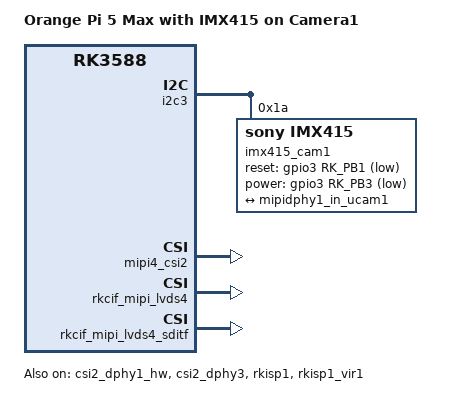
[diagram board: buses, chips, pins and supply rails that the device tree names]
// SPDX-License-Identifier: (GPL-2.0+ OR MIT)
/* Orange Pi 5 Max: one four-lane IMX415 on Camera1. */
#include "rk3588-orangepi-5-max.dts"

/ {
	model = "Orange Pi 5 Max with IMX415 on Camera1";
};

&i2c3 {
	status = "okay";

	imx415_cam1: imx415@1a {
		compatible = "sony,imx415";
		reg = <0x1a>;
		clocks = <&cru CLK_MIPI_CAMARAOUT_M2>;
		clock-names = "xvclk";
		assigned-clocks = <&cru CLK_MIPI_CAMARAOUT_M2>;
		assigned-clock-rates = <37125000>;
		power-domains = <&power RK3588_PD_VI>;
		pinctrl-names = "default";
		pinctrl-0 = <&mipim1_camera2_clk>;
		reset-gpios = <&gpio3 RK_PB1 GPIO_ACTIVE_LOW>;
		power-gpios = <&gpio3 RK_PB3 GPIO_ACTIVE_LOW>;
		rockchip,camera-module-index = <1>;
		rockchip,camera-module-facing = "back";
		rockchip,camera-module-name = "IMX415";
		rockchip,camera-module-lens-name = "default";
		rockchip,camera-hdr-mode = <0>;
		status = "okay";

		port {
			imx415_cam1_out: endpoint {
				remote-endpoint = <&mipidphy1_in_ucam1>;
				data-lanes = <1 2 3 4>;
			};
		};
	};
};

&mipidphy1_in_ucam1 {
	remote-endpoint = <&imx415_cam1_out>;
	data-lanes = <1 2 3 4>;
};

&ov13855_out1 {
	/delete-property/ remote-endpoint;
};

&csi2_dphy1_hw {
	status = "okay";
};

&csi2_dphy3 {
	status = "okay";
};

&mipi4_csi2 {
	status = "okay";
};

&rkcif_mipi_lvds4 {
	status = "okay";
};

&rkcif_mipi_lvds4_sditf {
	status = "okay";
};

/* Camera1 uses ISP1, which the base Max DTS leaves disabled. */
&rkisp1 {
	status = "okay";
};

&isp1_mmu {
	status = "okay";
};

&rkisp1_vir1 {
	status = "okay";
};
